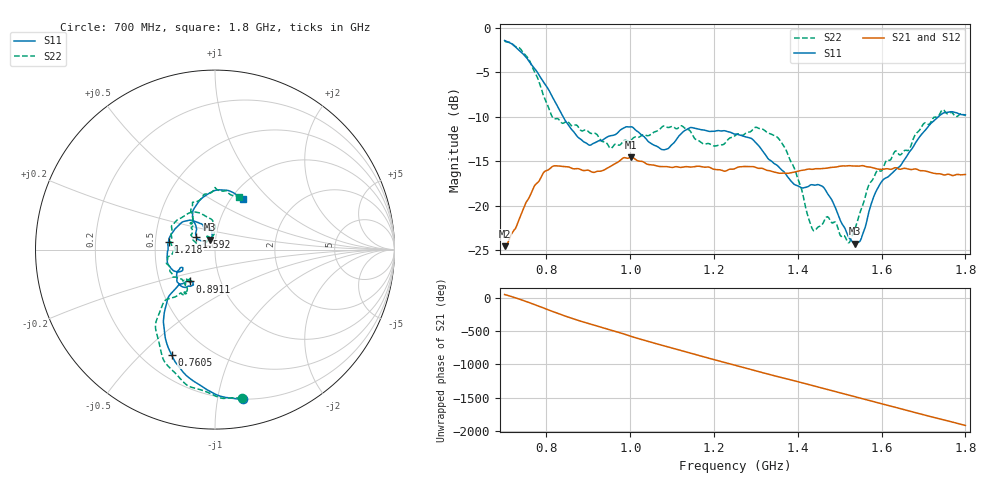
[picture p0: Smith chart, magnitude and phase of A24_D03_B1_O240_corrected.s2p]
! Created with skrf 1.9.0 (http://scikit-rf.org).
# Hz S RI R 50.0
!freq ReS11 ImS11 ReS21 ImS21 ReS12 ImS12 ReS22 ImS22
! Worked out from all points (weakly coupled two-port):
!   1601 points, 700 MHz to 1.8 GHz, reference 50 ohm
!   highest |S21| = -14.57 dB at 1.002 GHz (marker M1); lowest = -24.6 dB at 701.4 MHz (marker M2)
!   lowest |S11| = -24.3 dB at 1.535 GHz (marker M3), VSWR 1.13, Z = 47.2 + j5.21 ohm
!   |S11| at or under -10 dB: 839.4 MHz to 1.735 GHz (895.9 MHz wide, 69.6 % of centre)
!   |S22| runs from -24.2 to -1.5 dB; largest |S21 - S12| = 0.0036
!   S11 on the Smith chart (normalised r, x): 700 MHz: 0.20, -1.19; 760.5 MHz: 0.32, -0.62; 891.1 MHz: 0.71, -0.27; 1.218 GHz: 0.59, +0.06; 1.592 GHz: 0.80, +0.12; 1.8 GHz: 1.12, +0.71
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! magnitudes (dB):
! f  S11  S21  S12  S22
! 700 MHz  -1.4  -24.6  -24.3  -1.5
! 701.4 MHz  -1.5  -24.6  -24.2  -1.5
! 760.5 MHz  -3.9  -18.9  -18.8  -3.8
! 814.8 MHz  -7.8  -15.6  -15.7  -10.1
! 883.6 MHz  -12.6  -16.0  -15.9  -11.6
! 891.1 MHz  -12.9  -16.1  -16.1  -11.5
! 953 MHz  -12.1  -15.6  -15.6  -13.6
! 1.002 GHz  -11.1  -14.6  -14.7  -12.6
! 1.067 GHz  -13.4  -15.6  -15.5  -11.5
! 1.143 GHz  -11.2  -15.7  -15.6  -11.6
! 1.218 GHz  -11.6  -16.0  -16.1  -13.2
! 1.25 GHz  -12.0  -15.8  -15.8  -12.1
! 1.355 GHz  -15.7  -16.4  -16.3  -12.5
! 1.394 GHz  -17.7  -16.2  -16.2  -16.1
! 1.434 GHz  -17.7  -15.9  -15.9  -22.5
! 1.464 GHz  -18.1  -15.8  -15.8  -21.6
! 1.52 GHz  -23.4  -15.5  -15.5  -24.2
! 1.535 GHz  -24.3  -15.6  -15.6  -22.8
! 1.592 GHz  -18.0  -15.9  -15.9  -16.0
! 1.617 GHz  -16.7  -15.9  -15.9  -14.9
! 1.738 GHz  -9.9  -16.4  -16.5  -9.8
! 1.8 GHz  -9.8  -16.5  -16.5  -9.9
